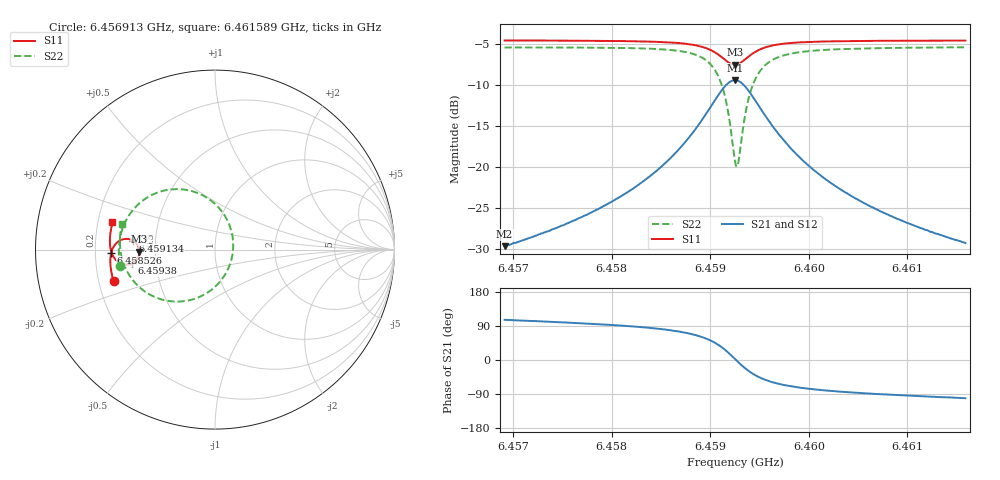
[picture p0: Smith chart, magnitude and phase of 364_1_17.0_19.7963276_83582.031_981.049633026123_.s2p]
#  HZ  S  RI  R  50.00
! Rohde & Schwarz Vector Network Analyzer
! Rohde-Schwarz,ZNB20-2Port,1311601062101988,3.16
! Created: UTC 3/20/2024, 11:08:21 PM
! freq[Hz]  re:S11  im:S11  re:S21  im:S21  re:S12  im:S12  re:S22  im:S22
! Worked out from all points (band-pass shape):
!   401 points, 6.456913 GHz to 6.461589 GHz, reference 50 ohm
!   highest |S21| = -9.39 dB at 6.459251 GHz (marker M1); lowest = -29.6 dB at 6.456913 GHz (marker M2)
!   |S21| within 3 dB of the highest: 6.459018 GHz to 6.459485 GHz (467.7 kHz wide, 0.00724 % of centre)
!   lowest |S11| = -7.5 dB at 6.459251 GHz (marker M3), VSWR 2.45, Z = 20.4 - j0.581 ohm
!   |S11| at or under -10 dB: nowhere
!   |S22| runs from -19.9 to -5.4 dB; largest |S21 - S12| = 0.013
!   S11 on the Smith chart (normalised r, x): 6.456913 GHz: 0.26, -0.14; 6.458526 GHz: 0.27, -0.01; 6.459134 GHz: 0.37, +0.05; 6.45938 GHz: 0.36, -0.07; 6.461589 GHz: 0.26, +0.12
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6.4569135e9  -0.5651 -0.1772  -0.0091 0.0317  -0.00743 0.0316  -0.529 -0.0899
6.4576966e9  -0.5799 -0.1092  -0.00597 0.0493  -0.00352 0.0488  -0.5357 0.000171
6.4581174e9  -0.5832 -0.0673  -0.000449 0.0678  0.00272 0.0666  -0.5288 0.0653
6.4584797e9  -0.5799 -0.0246  0.0131 0.0969  0.0171 0.0943  -0.5042 0.1447
6.4585265e9  -0.5785 -0.0184  0.0164 0.1024  0.0205 0.0994  -0.4981 0.1577
6.4587369e9  -0.5665 0.0135  0.042 0.1336  0.0461 0.1289  -0.4503 0.2286
6.4588888e9  -0.5457 0.0398  0.0837 0.1635  0.0871 0.1572  -0.3736 0.2927
6.4590408e9  -0.5004 0.0596  0.174 0.1827  0.1752 0.1754  -0.2089 0.3371
6.4591343e9  -0.4565 0.0499  0.2625 0.1527  0.2628 0.1468  -0.0452 0.289
6.459181e9  -0.4356 0.0316  0.3057 0.1108  0.3067 0.1056  0.0364 0.2148
6.4592512e9  -0.4208 -0.0117  0.3388 0.0158  0.3424 0.00902  0.1013 0.0392
6.4592745e9  -0.4226 -0.0274  0.337 -0.0189  0.3406 -0.0271  0.0976 -0.0264
6.4592862e9  -0.4246 -0.0349  0.3335 -0.0358  0.3372 -0.0447  0.0907 -0.0583
6.459333e9  -0.4399 -0.0605  0.3056 -0.0947  0.3077 -0.1063  0.0351 -0.1695
6.4593797e9  -0.4616 -0.0766  0.2646 -0.1353  0.2638 -0.1483  -0.0478 -0.2435
6.4594732e9  -0.5042 -0.0831  0.1814 -0.1664  0.1756 -0.1776  -0.2128 -0.2897
6.4596252e9  -0.5474 -0.0628  0.0951 -0.1532  0.0869 -0.1593  -0.3775 -0.2421
6.4597888e9  -0.5685 -0.0352  0.0509 -0.1261  0.0434 -0.1288  -0.4566 -0.1716
6.4600343e9  -0.5811 0.000421  0.0222 -0.0952  0.0166 -0.0959  -0.5042 -0.0906
6.4603966e9  -0.5856 0.0429  0.00603 -0.0684  0.00201 -0.068  -0.5259 -0.0103
6.4608174e9  -0.5836 0.0848  -0.00139 -0.0508  -0.00412 -0.0502  -0.5299 0.0553
6.4615888e9  -0.5711 0.1527  -0.00654 -0.0339  -0.00803 -0.033  -0.5184 0.1453
